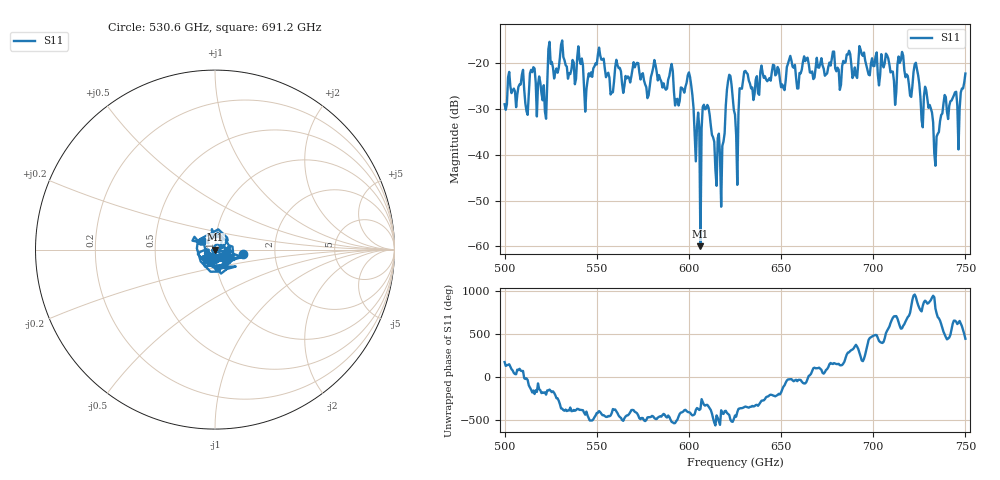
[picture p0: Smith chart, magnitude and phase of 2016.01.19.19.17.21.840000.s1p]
!Created with skrf (http://scikit-rf.org).
# GHz S RI R 50.0
!freq ReS11 ImS11
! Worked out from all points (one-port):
!   401 points, 500 GHz to 750 GHz, reference 50 ohm
!   lowest |S11| = -60.0 dB at 606.2 GHz (marker M1), VSWR 1.00, Z = 50.1 - j0.0271 ohm
!   |S11| at or under -10 dB: start of sweep to end of sweep
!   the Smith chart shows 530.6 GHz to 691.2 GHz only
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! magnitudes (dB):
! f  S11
! 500 GHz  -28.9
! 508.8 GHz  -24.6
! 511.9 GHz  -30.4
! 515 GHz  -21.9
! 521.2 GHz  -24.8
! 525 GHz  -20.1
! 531.2 GHz  -15.0
! 544.4 GHz  -25.7
! 551.9 GHz  -18.2
! 562.5 GHz  -21.0
! 590 GHz  -21.2
! 593.8 GHz  -27.7
! 600 GHz  -22.0
! 605 GHz  -30.8
! 606.2 GHz  -60.0
! 609.4 GHz  -29.8
! 618.1 GHz  -38.0
! 621.9 GHz  -22.5
! 625 GHz  -31.2
! 630.6 GHz  -21.6
! 656.2 GHz  -20.7
! 687.5 GHz  -17.9
! 718.8 GHz  -22.7
! 723.8 GHz  -21.3
! 734.4 GHz  -36.0
! 738.1 GHz  -28.7
! 746.9 GHz  -29.9
! 750 GHz  -22.2
